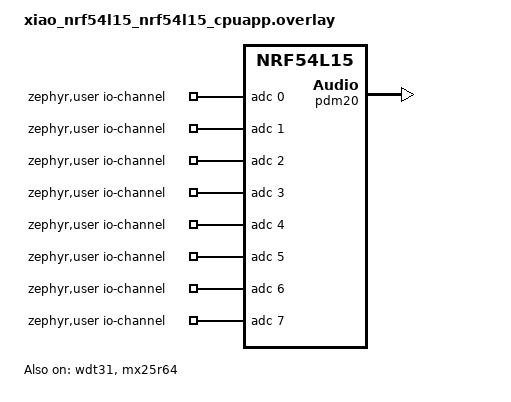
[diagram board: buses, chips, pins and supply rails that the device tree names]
/ {
	zephyr,user {
		io-channels = <&adc 0>, <&adc 1>, <&adc 2>, <&adc 3>,
			<&adc 4>, <&adc 5>, <&adc 6>, <&adc 7>;
	};
};

&wdt31 {
	status = "okay";
};

dmic_dev: &pdm20 {
    status = "okay";
};

/ {
    chosen {
        zephyr,flash-controller = &flash_controller;
    };
};

&mx25r64 {
    status = "okay";
};

&flash0 {
    partitions {
        compatible = "fixed-partitions";

        storage_partition: partition@c0000 {
            label = "storage";
            reg = <0x000c0000 0x00040000>;
        };
    };
};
